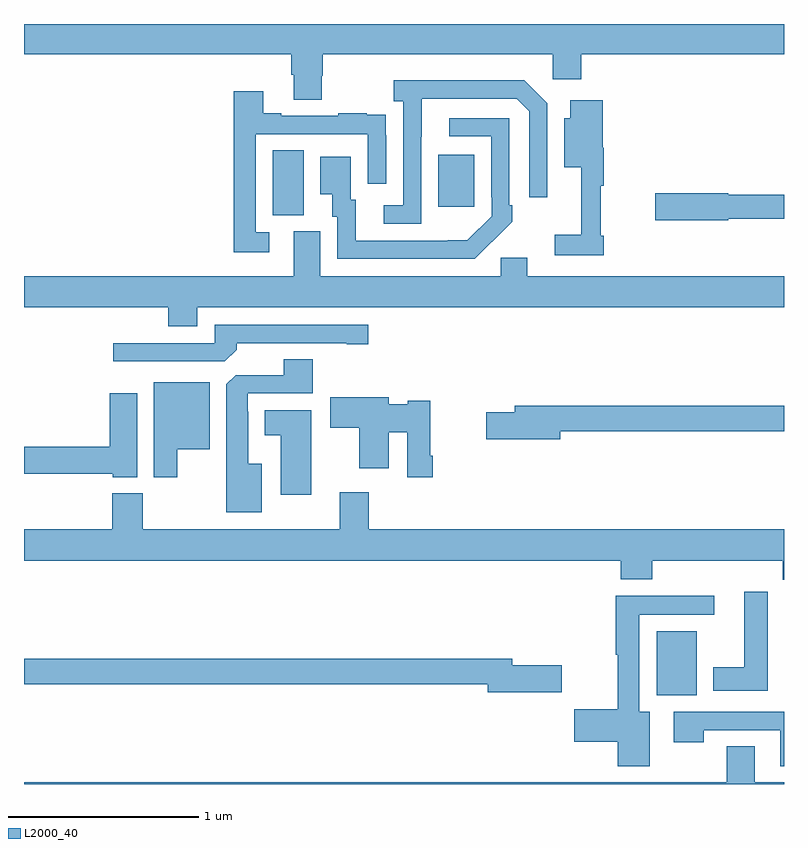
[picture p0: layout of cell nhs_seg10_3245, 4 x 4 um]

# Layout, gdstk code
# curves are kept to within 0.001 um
import gdstk
lib = gdstk.Library(unit=1e-6, precision=1e-09)
def R(c, l, rs):  # rectangles x0, y0, x1, y1
    for r in rs: c.add(gdstk.rectangle(r[:2], r[2:], *l))
def P(c, l, *ps):  # polygons
    for p in ps: c.add(gdstk.Polygon(p, *l))
L2000_40 = (2000, 40)

nhs_seg10_3245 = lib.new_cell('nhs_seg10_3245')
R(nhs_seg10_3245, L2000_40, [(290.33,1272.968,290.542,1273.303), (288.308,1275.493,288.472,1275.836), (289.181,1275.537,289.369,1275.811)])
P(nhs_seg10_3245, L2000_40, [(288.567,1276.227),(288.572,1276.227),(288.572,1276.34),(289.782,1276.34),(289.782,1276.209),(289.934,1276.209),(289.934,1276.34),(291,1276.34),(291,1276.5),(287,1276.5),(287,1276.34),(288.407,1276.34),(288.407,1276.234),(288.419,1276.234),(288.419,1276.102),(288.567,1276.102)],
  [(289.092,1275.907),(289.093,1276.107),(289.593,1276.107),(289.659,1276.041),(289.659,1275.588),(289.755,1275.588),(289.755,1276.083),(289.634,1276.204),(288.945,1276.204),(288.945,1276.094),(288.996,1276.094),(288.996,1275.546),(288.894,1275.546),(288.894,1275.45),(289.092,1275.45)],
  [(288.292,1275.405),(288.219,1275.405),(288.219,1275.921),(288.81,1275.921),(288.81,1275.66),(288.906,1275.66),(288.906,1275.914),(288.905,1275.914),(288.905,1276.023),(288.803,1276.023),(288.803,1276.03),(288.655,1276.03),(288.655,1276.017),(288.355,1276.017),(288.355,1276.03),(288.259,1276.03),(288.259,1276.147),(288.103,1276.147),(288.103,1275.3),(288.292,1275.3)],
  [(290.051,1275.385),(290.036,1275.385),(290.036,1275.65),(290.051,1275.65),(290.051,1275.85),(290.045,1275.85),(290.045,1276.099),(289.874,1276.099),(289.874,1276.003),(289.844,1276.003),(289.844,1275.746),(289.934,1275.746),(289.934,1275.391),(289.794,1275.391),(289.794,1275.282),(290.051,1275.282)],
  [(289.463,1275.355),(289.464,1275.354),(289.569,1275.459),(289.569,1275.547),(289.554,1275.547),(289.554,1276.005),(289.239,1276.005),(289.239,1275.909),(289.458,1275.909),(289.458,1275.589),(289.461,1275.589),(289.461,1275.489),(289.333,1275.361),(288.745,1275.36),(288.745,1275.576),(288.721,1275.576),(288.721,1275.802),(288.56,1275.802),(288.56,1275.605),(288.623,1275.605),(288.623,1275.486),(288.648,1275.486),(288.648,1275.264),(289.372,1275.264)],
  [(290.706,1275.474),(291,1275.474),(291,1275.602),(290.706,1275.602),(290.706,1275.608),(290.322,1275.608),(290.322,1275.466),(290.706,1275.466)],
  [(289.509,1275.27),(289.509,1275.172),(288.559,1275.172),(288.559,1275.408),(288.419,1275.408),(288.419,1275.172),(287,1275.172),(287,1275.008),(287.759,1275.008),(287.759,1274.909),(287.911,1274.909),(287.911,1275.008),(291,1275.008),(291,1275.172),(289.648,1275.172),(289.648,1275.27)],
  [(288.119,1274.786),(288.119,1274.82),(288.698,1274.82),(288.698,1274.815),(288.811,1274.815),(288.811,1274.916),(288.003,1274.916),(288.003,1274.82),(287.469,1274.82),(287.469,1274.724),(288.057,1274.724)],
  [(288.25,1274.185),(288.181,1274.185),(288.181,1274.459),(288.177,1274.459),(288.177,1274.556),(288.521,1274.556),(288.521,1274.735),(288.368,1274.735),(288.368,1274.652),(288.114,1274.652),(288.065,1274.603),(288.065,1273.931),(288.25,1273.931)],
  [(287.806,1274.261),(287.977,1274.261),(287.977,1274.614),(287.684,1274.614),(287.684,1274.115),(287.806,1274.115)],
  [(287.596,1274.557),(287.45,1274.557),(287.45,1274.276),(287,1274.276),(287,1274.134),(287.466,1274.134),(287.466,1274.114),(287.596,1274.114)],
  [(289.151,1274.227),(289.138,1274.227),(289.138,1274.516),(289.02,1274.516),(289.02,1274.498),(288.919,1274.498),(288.919,1274.536),(288.612,1274.536),(288.612,1274.374),(288.764,1274.374),(288.764,1274.163),(288.919,1274.163),(288.919,1274.351),(289.016,1274.351),(289.016,1274.115),(289.151,1274.115)],
  [(289.822,1274.356),(291,1274.356),(291,1274.492),(289.583,1274.492),(289.583,1274.456),(289.434,1274.456),(289.434,1274.314),(289.822,1274.314)],
  [(288.511,1274.467),(288.266,1274.467),(288.266,1274.336),(288.35,1274.336),(288.35,1274.022),(288.511,1274.022)],
  [(291,1273.84),(288.815,1273.84),(288.815,1274.035),(288.662,1274.035),(288.662,1273.84),(287.625,1273.84),(287.625,1274.029),(287.465,1274.029),(287.465,1273.84),(287,1273.84),(287,1273.676),(290.141,1273.676),(290.141,1273.577),(290.306,1273.577),(290.306,1273.676),(290.993,1273.676),(290.993,1273.575),(291,1273.575)],
  [(290.914,1273.513),(290.792,1273.513),(290.792,1273.114),(290.627,1273.114),(290.627,1272.992),(290.914,1272.992)],
  [(290.293,1272.88),(290.239,1272.88),(290.239,1273.392),(290.632,1273.392),(290.632,1273.49),(290.114,1273.49),(290.114,1273.181),(290.126,1273.181),(290.126,1272.893),(289.896,1272.893),(289.896,1272.722),(290.126,1272.722),(290.126,1272.594),(290.293,1272.594)],
  [(289.831,1273.124),(289.57,1273.124),(289.57,1273.16),(287,1273.16),(287,1273.024),(289.442,1273.024),(289.442,1272.982),(289.831,1272.982)],
  [(291,1272.879),(290.421,1272.879),(290.421,1272.72),(290.577,1272.72),(290.577,1272.783),(290.981,1272.783),(290.981,1272.594),(291,1272.594)],
  [(291,1272.508),(290.845,1272.508),(290.845,1272.698),(290.698,1272.698),(290.698,1272.508),(287,1272.508),(287,1272.5),(291,1272.5)])

lib.write_gds('nhs_seg10_3245.gds')
